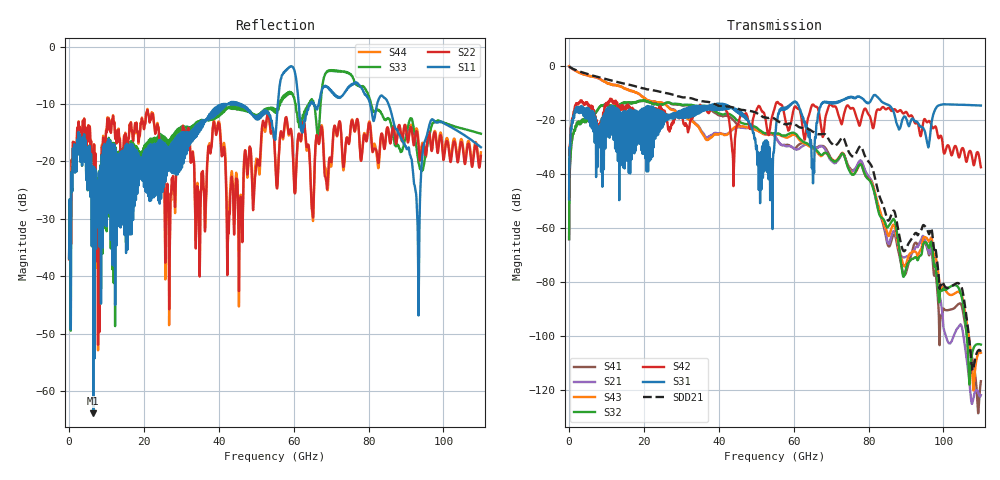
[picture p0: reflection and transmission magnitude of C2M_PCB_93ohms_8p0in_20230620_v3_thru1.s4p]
! Info: Touchstone file created by Circ.  Input file=C2M_PCB_93ohms_8p0in_20230620_v3.circ
# Hz S RI R 50
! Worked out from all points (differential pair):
!   11000 points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, 10 MHz to 110 GHz, reference 50 ohm
!   strongest paths, dB at 10 MHz, 27.51 GHz, 55.01 GHz, 82.51 GHz, 110 GHz:
!     S31: -49.5, -19.3, -25.1, -11.7, -14.7
!     S42: -49.3, -21.9, -15.0, -16.1, -37.6
!     S32: -64.2, -14.0, -25.0, -53.2, -103.3
!     S43: -0.1, -16.3, -25.4, -51.2, -106.3
!     S21: -0.1, -16.0, -26.0, -53.0, -122.1
!     S41: -64.2, -14.2, -26.2, -52.0, -116.9
!   taken as a pair (ports 3,1 in; 4,2 out), SDD21 dB: -0.1, -10.6, -19.7, -46.3, -106.0
!   lowest |S11| = -63.9 dB at 6.47 GHz (marker M1), VSWR 1.00, Z = 50 - j0.0581 ohm
!   |S11| at or under -10 dB: start of sweep to 41.32 GHz; 45.83 GHz to 55.77 GHz (9.939 GHz wide, 19.6 % of centre); 85.29 GHz to end of sweep (the widest 3 of 16)
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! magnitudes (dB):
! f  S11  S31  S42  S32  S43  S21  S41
! 10 MHz  -36.9  -49.5  -49.3  -64.2  -0.1  -0.1  -64.2
! 1.27 GHz  -19.2  -18.9  -16.9  -24.4  -1.5  -1.5  -24.4
! 6.47 GHz  -63.9  -24.0  -17.0  -18.3  -4.0  -4.0  -18.2
! 53.85 GHz  -12.5  -34.7  -21.3  -24.9  -25.3  -25.2  -25.3
! 60.2 GHz  -4.2  -13.5  -15.3  -24.9  -25.6  -30.7  -30.7
! 65.07 GHz  -9.9  -37.4  -14.4  -30.2  -30.6  -30.2  -29.9
! 110 GHz  -17.5  -14.7  -37.6  -103.3  -106.3  -122.1  -116.9
